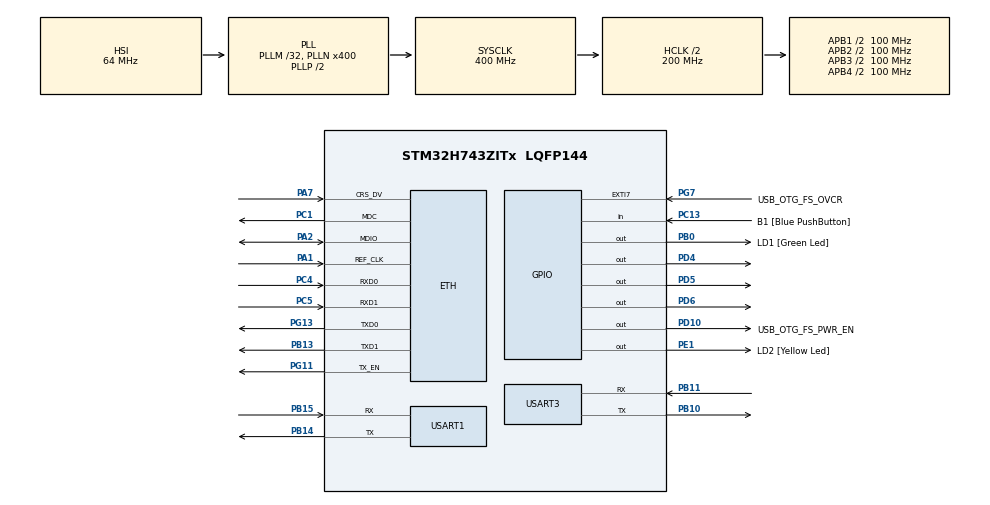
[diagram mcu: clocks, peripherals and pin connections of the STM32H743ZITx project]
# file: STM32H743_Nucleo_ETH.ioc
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CORTEX_M7.AccessPermission_S-Cortex_Memory_Protection_Unit_Region1_Settings_S=MPU_REGION_FULL_ACCESS
CORTEX_M7.AccessPermission_S-Cortex_Memory_Protection_Unit_Region2_Settings_S=MPU_REGION_FULL_ACCESS
CORTEX_M7.BaseAddress_S-Cortex_Memory_Protection_Unit_Region1_Settings_S=0x30020000
CORTEX_M7.BaseAddress_S-Cortex_Memory_Protection_Unit_Region2_Settings_S=0x30040000
CORTEX_M7.CPU_DCache=Enabled
CORTEX_M7.CPU_ICache=Enabled
CORTEX_M7.DisableExec_S-Cortex_Memory_Protection_Unit_Region1_Settings_S=MPU_INSTRUCTION_ACCESS_DISABLE
CORTEX_M7.DisableExec_S-Cortex_Memory_Protection_Unit_Region2_Settings_S=MPU_INSTRUCTION_ACCESS_DISABLE
CORTEX_M7.Enable_S-Cortex_Memory_Protection_Unit_Region1_Settings_S=MPU_REGION_ENABLE
CORTEX_M7.Enable_S-Cortex_Memory_Protection_Unit_Region2_Settings_S=MPU_REGION_ENABLE
CORTEX_M7.IsBufferable_S-Cortex_Memory_Protection_Unit_Region2_Settings_S=MPU_ACCESS_BUFFERABLE
CORTEX_M7.IsShareable_S-Cortex_Memory_Protection_Unit_Region2_Settings_S=MPU_ACCESS_SHAREABLE
CORTEX_M7.Size_S-Cortex_Memory_Protection_Unit_Region1_Settings_S=MPU_REGION_SIZE_128KB
CORTEX_M7.Size_S-Cortex_Memory_Protection_Unit_Region2_Settings_S=MPU_REGION_SIZE_512B
CORTEX_M7.TypeExtField_S-Cortex_Memory_Protection_Unit_Region1_Settings_S=MPU_TEX_LEVEL1
CORTEX_M7.default_mode_Activation=1
ETH.MediaInterface=HAL_ETH_RMII_MODE
ETH.RxBuffLen=1536
ETH.RxDescAddress=0x30040000
ETH.TxDescAddress=0x30040200
FREERTOS.HEAP_NUMBER=4
FREERTOS.Tasks01=defaultTask,24,256,StartDefaultTask,Default,NULL,Dynamic,NULL,NULL;MQTTTask,24,256,StartTaskMQTT,Default,NULL,Dynamic,NULL,NULL;ModbusTask,40,512,StartTaskModbus,Default,NULL,Dynamic,NULL,NULL
FREERTOS.configCHECK_FOR_STACK_OVERFLOW=1
FREERTOS.configMINIMAL_STACK_SIZE=256
FREERTOS.configTOTAL_HEAP_SIZE=30*1024
FREERTOS.configUSE_NEWLIB_REENTRANT=1
LWIP.BSP.number=1
LWIP.DEFAULT_THREAD_STACKSIZE=2048
LWIP.GATEWAY_ADDRESS=192.168.000.001
LWIP.IP_ADDRESS=192.168.000.110
LWIP.LWIP_DHCP=0
LWIP.LWIP_RAM_HEAP_POINTER=0x30020000
LWIP.MEM_SIZE=131048
LWIP.NETMASK_ADDRESS=255.255.255.000
LWIP.PBUF_POOL_BUFSIZE=592
LWIP.TCPIP_THREAD_STACKSIZE=2048
LWIP.TCP_MSS=1460
LWIP.TCP_SND_BUF=5840
LWIP.TCP_SND_QUEUELEN=16
LWIP.Version=v2.1.2_Cube
LWIP0.BSP.STBoard=false
LWIP0.BSP.api=BSP_COMPONENT_DRIVER
LWIP0.BSP.component=LAN8742
LWIP0.BSP.instance=LAN8742
LWIP0.BSP.name=Driver_PHY
LWIP0.BSP.semaphore=S_LAN8742
LWIP0.BSP.solution=LAN8742
Mcu.Family=STM32H7
Mcu.Name=STM32H743ZITx
Mcu.Package=LQFP144
NVIC.ETH_IRQn=true\:5\:0\:false\:false\:true\:true\:true\:true\:true
NVIC.PriorityGroup=NVIC_PRIORITYGROUP_4
NVIC.TIM15_IRQn=true\:5\:0\:false\:false\:true\:true\:true\:true\:true
NVIC.TIM6_DAC_IRQn=true\:15\:0\:false\:false\:true\:false\:false\:true\:true
NVIC.TimeBase=TIM6_DAC_IRQn
NVIC.TimeBaseIP=TIM6
NVIC.USART1_IRQn=true\:5\:0\:false\:false\:true\:true\:true\:true\:true
NVIC.USART3_IRQn=true\:5\:0\:false\:false\:true\:true\:true\:true\:true
PA1.GPIO_Speed=GPIO_SPEED_FREQ_VERY_HIGH
PA1.Mode=RMII
PA1.Signal=ETH_REF_CLK
PA2.GPIO_Speed=GPIO_SPEED_FREQ_VERY_HIGH
PA2.Mode=RMII
PA2.Signal=ETH_MDIO
PA7.GPIO_Speed=GPIO_SPEED_FREQ_VERY_HIGH
PA7.Mode=RMII
PA7.Signal=ETH_CRS_DV
PB0.GPIO_Label=LD1 [Green Led]
PB0.Signal=GPIO_Output
PB10.Mode=Asynchronous
PB10.Signal=USART3_TX
PB11.Mode=Asynchronous
PB11.Signal=USART3_RX
PB13.GPIO_Speed=GPIO_SPEED_FREQ_VERY_HIGH
PB13.Mode=RMII
PB13.Signal=ETH_TXD1
PB14.Mode=Asynchronous
PB14.Signal=USART1_TX
PB15.Mode=Asynchronous
PB15.Signal=USART1_RX
PC1.GPIO_Speed=GPIO_SPEED_FREQ_VERY_HIGH
PC1.Mode=RMII
PC1.Signal=ETH_MDC
PC13.GPIO_Label=B1 [Blue PushButton]
PC13.Signal=GPIO_Input
PC14-OSC32_IN\ (OSC32_IN).Signal=RCC_OSC32_IN
PC15-OSC32_OUT\ (OSC32_OUT).Signal=RCC_OSC32_OUT
PC4.GPIO_Speed=GPIO_SPEED_FREQ_VERY_HIGH
PC4.Mode=RMII
PC4.Signal=ETH_RXD0
PC5.GPIO_Speed=GPIO_SPEED_FREQ_VERY_HIGH
PC5.Mode=RMII
PC5.Signal=ETH_RXD1
PD10.GPIO_Label=USB_OTG_FS_PWR_EN
PD10.Signal=GPIO_Output
PD4.Signal=GPIO_Output
PD5.Signal=GPIO_Output
PD6.Signal=GPIO_Output
PE1.GPIO_Label=LD2 [Yellow Led]
PE1.Signal=GPIO_Output
PG11.GPIO_Speed=GPIO_SPEED_FREQ_VERY_HIGH
PG11.Mode=RMII
PG11.Signal=ETH_TX_EN
PG13.GPIO_Speed=GPIO_SPEED_FREQ_VERY_HIGH
PG13.Mode=RMII
PG13.Signal=ETH_TXD0
PG7.GPIO_Label=USB_OTG_FS_OVCR
PG7.Signal=GPXTI7
PH0-OSC_IN\ (PH0).Signal=RCC_OSC_IN
PH1-OSC_OUT\ (PH1).Signal=RCC_OSC_OUT
ProjectManager.HeapSize=0x200
ProjectManager.StackSize=0x400
ProjectManager.TargetToolchain=STM32CubeIDE
RCC.ADCFreq_Value=129000000
RCC.APB1Freq_Value=100000000
RCC.APB2Freq_Value=100000000
RCC.APB3Freq_Value=100000000
RCC.APB4Freq_Value=100000000
RCC.CortexFreq_Value=400000000
RCC.D1PPRE=RCC_APB3_DIV2
RCC.D2PPRE1=RCC_APB1_DIV2
RCC.D2PPRE2=RCC_APB2_DIV2
RCC.D3PPRE=RCC_APB4_DIV2
RCC.DIVN1=400
RCC.HCLKFreq_Value=200000000
RCC.HPRE=RCC_HCLK_DIV2
RCC.SYSCLKFreq_VALUE=400000000
RCC.SYSCLKSource=RCC_SYSCLKSOURCE_PLLCLK
RCC.USBFreq_Value=400000000
TIM15.Period=999
TIM15.Prescaler=64
USART1.VirtualMode-Asynchronous=VM_ASYNC
USART3.VirtualMode-Asynchronous=VM_ASYNC
VP_FREERTOS_VS_CMSIS_V2.Mode=CMSIS_V2
VP_LWIP_VS_Enabled.Mode=Enabled
VP_SYS_VS_tim6.Mode=TIM6
VP_TIM15_VS_ClockSourceINT.Mode=Internal
VP_TIM3_VS_ClockSourceINT.Mode=Internal
board=NUCLEO-H743ZI2

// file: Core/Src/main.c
/* USER CODE BEGIN Header */
/**
 ******************************************************************************
 * @file           : main.c
 * @brief          : Main program body
 ******************************************************************************
 * @attention
 *
 * Copyright (c) 2022 STMicroelectronics.
 * All rights reserved.
 *
 * This software is licensed under terms that can be found in the LICENSE file
 * in the root directory of this software component.
 * If no LICENSE file comes with this software, it is provided AS-IS.
 *
 ******************************************************************************
 */
/* USER CODE END Header */
#include "main.h"
#include "cmsis_os.h"
#include "lwip.h"

/* USER CODE BEGIN Includes */
/* ETH_CODE: add lwiperf, see comment in StartDefaultTask function */
#include "lwip/apps/lwiperf.h"
#include "lwip/apps/mqtt.h"
#include "lwip/opt.h"
#include "lwip/tcpip.h"
#include "lwip/api.h"
#include "lwip/netif.h"
#include "lwip/dhcp.h"
#include "lwip/sockets.h"
#include <string.h>

#include "tcpserver.h"
#include "tcpclient.h"

//#include "MQTTClient.h"
//#include "MQTTInterface.h"

/* USER CODE END Includes */

/* USER CODE BEGIN PD */

//#define BROKER_IP		"192.168.0.100"
//#define MQTT_PORT		1883
//#define MQTT_BUFSIZE	1024
/* USER CODE END PD */

TIM_HandleTypeDef htim3;
TIM_HandleTypeDef htim15;

UART_HandleTypeDef huart1;
UART_HandleTypeDef huart3;

/* Definitions for defaultTask */
osThreadId_t defaultTaskHandle;
const osThreadAttr_t defaultTask_attributes = { .name = "defaultTask",
		.stack_size = 256 * 4, .priority = (osPriority_t) osPriorityNormal, };
/* Definitions for MQTTTask */
osThreadId_t MQTTTaskHandle;
const osThreadAttr_t MQTTTask_attributes = { .name = "MQTTTask", .stack_size =
		256 * 4, .priority = (osPriority_t) osPriorityNormal, };
/* Definitions for ModbusTask */
osThreadId_t ModbusTaskHandle;
const osThreadAttr_t ModbusTask_attributes = { .name = "ModbusTask",
		.stack_size = 512 * 4, .priority = (osPriority_t) osPriorityHigh, };
/* USER CODE BEGIN PV */

uint8_t rx_request_complete = 0;
uint8_t rx_response_complete = 0;

uint8_t timer_request_start = 0; // boole
uint8_t timer_response_start = 0; //boole

uint8_t timer_request_complete = 0; // boole
uint8_t timer_response_complete = 0; //boole

uint8_t counter_request = 0;
uint8_t counter_response = 0;

uint16_t flag = 0;

//extern struct netif gnetif; //extern gnetif
//
//Network net; //mqtt network
//MQTTClient mqttClient; //mqtt client
//
//uint8_t sndBuffer[MQTT_BUFSIZE]; //mqtt send buffer
//uint8_t rcvBuffer[MQTT_BUFSIZE]; //mqtt receive buffer
//uint8_t msgBuffer[MQTT_BUFSIZE]; //mqtt message buffer

/* USER CODE END PV */

void SystemClock_Config(void);
static void MPU_Config(void);
static void MX_GPIO_Init(void);
static void MX_TIM3_Init(void);
static void MX_TIM15_Init(void);
static void MX_USART1_UART_Init(void);
static void MX_USART3_UART_Init(void);
void StartDefaultTask(void *argument);
void StartTaskMQTT(void *argument);
void StartTaskModbus(void *argument);

/* USER CODE BEGIN 0 */

char received_command[50];
char response_array_rx[50];

char request_array_rx[8] = { 0xAA, 0x03, 0x00, 0x01, 0x00, 0x01, 0xCC, 0x11 };

uint8_t response_byte;
uint8_t index_response_array_rx = 0x00;
uint8_t request_byte;
uint8_t index_request_array_rx = 0x00;

/*-----------------------------------------------------------------------------------------------------------

 //int MqttConnectBroker()
 //{
 //
 //  NewNetwork(&net);
 //  ConnectNetwork(&net, BROKER_IP, MQTT_PORT);
 //
 //  MQTTClientInit(&mqttClient, &net, 1000, sndBuffer, sizeof(sndBuffer), rcvBuffer, sizeof(rcvBuffer));
 //
 //  MQTTPacket_connectData data = MQTTPacket_connectData_initializer;
 //  data.willFlag = 0;
 //  data.MQTTVersion = 3;
 //  data.clientID.cstring = "sensor_temp";
 //  data.username.cstring = "sensor_temp";
 //  data.password.cstring = "";
 //  data.keepAliveInterval = 60;
 //  data.cleansession = 1;
 //
 //  MQTTConnect(&mqttClient, &data);
 //
 //  return MQTT_SUCCESS;
 //}

 ------------------------------------------------------------------------------------------------------------*/

/* USER CODE END 0 */

int main(void) {

	/* MPU Configuration--------------------------------------------------------*/
	MPU_Config();

	/* Enable I-Cache---------------------------------------------------------*/
	SCB_EnableICache();

	/* Enable D-Cache---------------------------------------------------------*/
	SCB_EnableDCache();

	/* MCU Configuration--------------------------------------------------------*/

	/* Reset of all peripherals, Initializes the Flash interface and the Systick. */
	HAL_Init();

	/* Configure the system clock */
	SystemClock_Config();

	/* Initialize all configured peripherals */
	MX_GPIO_Init();
	MX_TIM3_Init();
	MX_TIM15_Init();
	MX_USART1_UART_Init();
	MX_USART3_UART_Init();
	/* USER CODE BEGIN 2 */
	HAL_TIM_Base_Start_IT(&htim15);
	/* USER CODE END 2 */

	/* Init scheduler */
	osKernelInitialize();

	/* Create the thread(s) */
	/* creation of defaultTask */
	defaultTaskHandle = osThreadNew(StartDefaultTask, NULL, &defaultTask_attributes);

	/* creation of MQTTTask */
	MQTTTaskHandle = osThreadNew(StartTaskMQTT, NULL, &MQTTTask_attributes);

	/* creation of ModbusTask */
	ModbusTaskHandle = osThreadNew(StartTaskModbus, NULL, &ModbusTask_attributes);

	/* Start scheduler */
	osKernelStart();

	/* We should never get here as control is now taken by the scheduler */
	/* Infinite loop */
	while (1) {

	}
}

void SystemClock_Config(void) {
	RCC_OscInitTypeDef RCC_OscInitStruct = { 0 };
	RCC_ClkInitTypeDef RCC_ClkInitStruct = { 0 };

	/** Supply configuration update enable
	 */
	HAL_PWREx_ConfigSupply(PWR_LDO_SUPPLY);

	/** Configure the main internal regulator output voltage
	 */
	__HAL_PWR_VOLTAGESCALING_CONFIG(PWR_REGULATOR_VOLTAGE_SCALE1);

	while (!__HAL_PWR_GET_FLAG(PWR_FLAG_VOSRDY)) {
	}

	/** Initializes the RCC Oscillators according to the specified parameters
	 * in the RCC_OscInitTypeDef structure.
	 */
	RCC_OscInitStruct.OscillatorType = RCC_OSCILLATORTYPE_HSI;
	RCC_OscInitStruct.HSIState = RCC_HSI_DIV1;
	RCC_OscInitStruct.HSICalibrationValue = RCC_HSICALIBRATION_DEFAULT;
	RCC_OscInitStruct.PLL.PLLState = RCC_PLL_ON;
	RCC_OscInitStruct.PLL.PLLSource = RCC_PLLSOURCE_HSI;
	RCC_OscInitStruct.PLL.PLLM = 32;
	RCC_OscInitStruct.PLL.PLLN = 400;
	RCC_OscInitStruct.PLL.PLLP = 2;
	RCC_OscInitStruct.PLL.PLLQ = 2;
	RCC_OscInitStruct.PLL.PLLR = 2;
	RCC_OscInitStruct.PLL.PLLRGE = RCC_PLL1VCIRANGE_1;
	RCC_OscInitStruct.PLL.PLLVCOSEL = RCC_PLL1VCOWIDE;
	RCC_OscInitStruct.PLL.PLLFRACN = 0;
	if (HAL_RCC_OscConfig(&RCC_OscInitStruct) != HAL_OK) {
		Error_Handler();
	}

	/** Initializes the CPU, AHB and APB buses clocks
	 */
	RCC_ClkInitStruct.ClockType = RCC_CLOCKTYPE_HCLK | RCC_CLOCKTYPE_SYSCLK
			| RCC_CLOCKTYPE_PCLK1 | RCC_CLOCKTYPE_PCLK2 | RCC_CLOCKTYPE_D3PCLK1
			| RCC_CLOCKTYPE_D1PCLK1;
	RCC_ClkInitStruct.SYSCLKSource = RCC_SYSCLKSOURCE_PLLCLK;
	RCC_ClkInitStruct.SYSCLKDivider = RCC_SYSCLK_DIV1;
	RCC_ClkInitStruct.AHBCLKDivider = RCC_HCLK_DIV2;
	RCC_ClkInitStruct.APB3CLKDivider = RCC_APB3_DIV2;
	RCC_ClkInitStruct.APB1CLKDivider = RCC_APB1_DIV2;
	RCC_ClkInitStruct.APB2CLKDivider = RCC_APB2_DIV2;
	RCC_ClkInitStruct.APB4CLKDivider = RCC_APB4_DIV2;

	if (HAL_RCC_ClockConfig(&RCC_ClkInitStruct, FLASH_LATENCY_2) != HAL_OK) {
		Error_Handler();
	}
}

static void MX_TIM3_Init(void) {

	TIM_ClockConfigTypeDef sClockSourceConfig = { 0 };
	TIM_MasterConfigTypeDef sMasterConfig = { 0 };

	htim3.Instance = TIM3;
	htim3.Init.Prescaler = 0;
	htim3.Init.CounterMode = TIM_COUNTERMODE_UP;
	htim3.Init.Period = 65535;
	htim3.Init.ClockDivision = TIM_CLOCKDIVISION_DIV1;
	htim3.Init.AutoReloadPreload = TIM_AUTORELOAD_PRELOAD_DISABLE;
	if (HAL_TIM_Base_Init(&htim3) != HAL_OK) {
		Error_Handler();
	}
	sClockSourceConfig.ClockSource = TIM_CLOCKSOURCE_INTERNAL;
	if (HAL_TIM_ConfigClockSource(&htim3, &sClockSourceConfig) != HAL_OK) {
		Error_Handler();
	}
	sMasterConfig.MasterOutputTrigger = TIM_TRGO_RESET;
	sMasterConfig.MasterSlaveMode = TIM_MASTERSLAVEMODE_DISABLE;
	if (HAL_TIMEx_MasterConfigSynchronization(&htim3, &sMasterConfig)
			!= HAL_OK) {
		Error_Handler();
	}

}

static void MX_TIM15_Init(void) {

	TIM_ClockConfigTypeDef sClockSourceConfig = { 0 };
	TIM_MasterConfigTypeDef sMasterConfig = { 0 };

	htim15.Instance = TIM15;
	htim15.Init.Prescaler = 64;
	htim15.Init.CounterMode = TIM_COUNTERMODE_UP;
	htim15.Init.Period = 999;
	htim15.Init.ClockDivision = TIM_CLOCKDIVISION_DIV1;
	htim15.Init.RepetitionCounter = 0;
	htim15.Init.AutoReloadPreload = TIM_AUTORELOAD_PRELOAD_DISABLE;
	if (HAL_TIM_Base_Init(&htim15) != HAL_OK) {
		Error_Handler();
	}
	sClockSourceConfig.ClockSource = TIM_CLOCKSOURCE_INTERNAL;
	if (HAL_TIM_ConfigClockSource(&htim15, &sClockSourceConfig) != HAL_OK) {
		Error_Handler();
	}
	sMasterConfig.MasterOutputTrigger = TIM_TRGO_RESET;
	sMasterConfig.MasterSlaveMode = TIM_MASTERSLAVEMODE_DISABLE;
	if (HAL_TIMEx_MasterConfigSynchronization(&htim15, &sMasterConfig)
			!= HAL_OK) {
		Error_Handler();
	}

}

static void MX_USART1_UART_Init(void) {

	huart1.Instance = USART1;
	huart1.Init.BaudRate = 115200;
	huart1.Init.WordLength = UART_WORDLENGTH_8B;
	huart1.Init.StopBits = UART_STOPBITS_1;
	huart1.Init.Parity = UART_PARITY_NONE;
	huart1.Init.Mode = UART_MODE_TX_RX;
	huart1.Init.HwFlowCtl = UART_HWCONTROL_NONE;
	huart1.Init.OverSampling = UART_OVERSAMPLING_16;
	huart1.Init.OneBitSampling = UART_ONE_BIT_SAMPLE_DISABLE;
	huart1.Init.ClockPrescaler = UART_PRESCALER_DIV1;
	huart1.AdvancedInit.AdvFeatureInit = UART_ADVFEATURE_NO_INIT;
	if (HAL_UART_Init(&huart1) != HAL_OK) {
		Error_Handler();
	}
	if (HAL_UARTEx_SetTxFifoThreshold(&huart1, UART_TXFIFO_THRESHOLD_1_8)
			!= HAL_OK) {
		Error_Handler();
	}
	if (HAL_UARTEx_SetRxFifoThreshold(&huart1, UART_RXFIFO_THRESHOLD_1_8)
			!= HAL_OK) {
		Error_Handler();
	}
	if (HAL_UARTEx_DisableFifoMode(&huart1) != HAL_OK) {
		Error_Handler();
	}

}

static void MX_USART3_UART_Init(void) {

	huart3.Instance = USART3;
	huart3.Init.BaudRate = 115200;
	huart3.Init.WordLength = UART_WORDLENGTH_8B;
	huart3.Init.StopBits = UART_STOPBITS_1;
	huart3.Init.Parity = UART_PARITY_NONE;
	huart3.Init.Mode = UART_MODE_TX_RX;
	huart3.Init.HwFlowCtl = UART_HWCONTROL_NONE;
	huart3.Init.OverSampling = UART_OVERSAMPLING_16;
	huart3.Init.OneBitSampling = UART_ONE_BIT_SAMPLE_DISABLE;
	huart3.Init.ClockPrescaler = UART_PRESCALER_DIV1;
	huart3.AdvancedInit.AdvFeatureInit = UART_ADVFEATURE_NO_INIT;
	if (HAL_UART_Init(&huart3) != HAL_OK) {
		Error_Handler();
	}
	if (HAL_UARTEx_SetTxFifoThreshold(&huart3, UART_TXFIFO_THRESHOLD_1_8)
			!= HAL_OK) {
		Error_Handler();
	}
	if (HAL_UARTEx_SetRxFifoThreshold(&huart3, UART_RXFIFO_THRESHOLD_1_8)
			!= HAL_OK) {
		Error_Handler();
	}
	if (HAL_UARTEx_DisableFifoMode(&huart3) != HAL_OK) {
		Error_Handler();
	}

}

static void MX_GPIO_Init(void) {
	GPIO_InitTypeDef GPIO_InitStruct = { 0 };

	/* GPIO Ports Clock Enable */
	__HAL_RCC_GPIOC_CLK_ENABLE();
	__HAL_RCC_GPIOH_CLK_ENABLE();
	__HAL_RCC_GPIOA_CLK_ENABLE();
	__HAL_RCC_GPIOB_CLK_ENABLE();
	__HAL_RCC_GPIOD_CLK_ENABLE();
	__HAL_RCC_GPIOG_CLK_ENABLE();
	__HAL_RCC_GPIOE_CLK_ENABLE();

	/*Configure GPIO pin Output Level */
	HAL_GPIO_WritePin(LD1_GPIO_Port, LD1_Pin, GPIO_PIN_RESET);

	/*Configure GPIO pin Output Level */
	HAL_GPIO_WritePin(GPIOD,
	USB_OTG_FS_PWR_EN_Pin | GPIO_PIN_4 | GPIO_PIN_5 | GPIO_PIN_6,
			GPIO_PIN_RESET);

	/*Configure GPIO pin Output Level */
	HAL_GPIO_WritePin(LD2_GPIO_Port, LD2_Pin, GPIO_PIN_RESET);

	/*Configure GPIO pin : B1_Pin */
	GPIO_InitStruct.Pin = B1_Pin;
	GPIO_InitStruct.Mode = GPIO_MODE_INPUT;
	GPIO_InitStruct.Pull = GPIO_NOPULL;
	HAL_GPIO_Init(B1_GPIO_Port, &GPIO_InitStruct);

	/*Configure GPIO pin : LD1_Pin */
	GPIO_InitStruct.Pin = LD1_Pin;
	GPIO_InitStruct.Mode = GPIO_MODE_OUTPUT_PP;
	GPIO_InitStruct.Pull = GPIO_NOPULL;
	GPIO_InitStruct.Speed = GPIO_SPEED_FREQ_LOW;
	HAL_GPIO_Init(LD1_GPIO_Port, &GPIO_InitStruct);

	/*Configure GPIO pins : USB_OTG_FS_PWR_EN_Pin PD4 PD5 PD6 */
	GPIO_InitStruct.Pin = USB_OTG_FS_PWR_EN_Pin | GPIO_PIN_4 | GPIO_PIN_5
			| GPIO_PIN_6;
	GPIO_InitStruct.Mode = GPIO_MODE_OUTPUT_PP;
	GPIO_InitStruct.Pull = GPIO_NOPULL;
	GPIO_InitStruct.Speed = GPIO_SPEED_FREQ_LOW;
	HAL_GPIO_Init(GPIOD, &GPIO_InitStruct);

	/*Configure GPIO pin : USB_OTG_FS_OVCR_Pin */
	GPIO_InitStruct.Pin = USB_OTG_FS_OVCR_Pin;
	GPIO_InitStruct.Mode = GPIO_MODE_IT_RISING;
	GPIO_InitStruct.Pull = GPIO_NOPULL;
	HAL_GPIO_Init(USB_OTG_FS_OVCR_GPIO_Port, &GPIO_InitStruct);

	/*Configure GPIO pin : LD2_Pin */
	GPIO_InitStruct.Pin = LD2_Pin;
	GPIO_InitStruct.Mode = GPIO_MODE_OUTPUT_PP;
	GPIO_InitStruct.Pull = GPIO_NOPULL;
	GPIO_InitStruct.Speed = GPIO_SPEED_FREQ_LOW;
	HAL_GPIO_Init(LD2_GPIO_Port, &GPIO_InitStruct);

}

/* USER CODE BEGIN 4 */

void HAL_UART_RxCpltCallback(UART_HandleTypeDef *huart) {
	/* Prevent unused argument(s) compilation warning */
	//UNUSED(huart);
	/* NOTE : This function should not be modified, when the callback is needed,
	 the HAL_UART_RxCpltCallback can be implemented in the user file.
	 */

	if (huart->Instance == USART1) {

		//rx_response_complete = 1;
		response_array_rx[index_response_array_rx] = response_byte;

		index_response_array_rx++;

		timer_response_start = 1;

		HAL_UART_Receive_IT(&huart1, &response_byte, 1);
	}

}

/* USER CODE END 4 */

void StartDefaultTask(void *argument) {
	/* init code for LWIP */
	MX_LWIP_Init();
	/* USER CODE BEGIN 5 */

	LOCK_TCPIP_CORE();
	lwiperf_start_tcp_server_default(NULL, NULL);

	ip4_addr_t remote_addr;
	IP4_ADDR(&remote_addr, 192, 168, 0, 1);
	lwiperf_start_tcp_client_default(&remote_addr, NULL, NULL);
	UNLOCK_TCPIP_CORE();

	/* Infinite loop */
	for (;;) {
		osDelay(10);
	}
	/* USER CODE END 5 */
}

void StartTaskMQTT(void *argument) {
	/* USER CODE BEGIN StartTaskMQTT */

	tcpserver_init();
	/*-----------------------------------------------------------------------------------------------------------
	 //	MqttConnectBroker();
	 //
	 //	osDelay(1000);
	 //	char* str = "test";
	 //	MQTTMessage message;
	 //
	 //	message.payload = (void*)str;
	 //	message.payloadlen = strlen(str);
	 //	message.qos = 0;
	 //	message.retained = 0;
	 //	MQTTPublish(&mqttClient, "sensors/temperature", &message);
	 -----------------------------------------------------------------------------------------------------------*/
	for (;;) {
		osDelay(1);
	}

	/* USER CODE END StartTaskMQTT */
}

/* USER CODE BEGIN Header_StartTaskModbus */
/**
 * @brief Function implementing the ModbusTask tahread.
 * @param argument: Not used
 * @retval None
 */
/* USER CODE END Header_StartTaskModbus */
void StartTaskModbus(void *argument) {
	/* USER CODE BEGIN StartTaskModbus */
	HAL_TIM_Base_Start_IT(&htim15);
	/* Infinite loop */
	for (;;) {

		osDelay(1);

		HAL_UART_Transmit(&huart1, request_array_rx, 8, 100);

		HAL_UART_Receive_IT(&huart1, &response_byte, 1);

		if (rx_response_complete) {

			rx_response_complete = 0;
			index_response_array_rx = 0;
			timer_response_start = 0;
		}

		/* USER CODE END StartTaskModbus */
	}
}
/* MPU Configuration */

void MPU_Config(void) {
	MPU_Region_InitTypeDef MPU_InitStruct = { 0 };

	/* Disables the MPU */
	HAL_MPU_Disable();

	/** Initializes and configures the Region and the memory to be protected
	 */
	MPU_InitStruct.Enable = MPU_REGION_ENABLE;
	MPU_InitStruct.Number = MPU_REGION_NUMBER0;
	MPU_InitStruct.BaseAddress = 0x0;
	MPU_InitStruct.Size = MPU_REGION_SIZE_4GB;
	MPU_InitStruct.SubRegionDisable = 0x87;
	MPU_InitStruct.TypeExtField = MPU_TEX_LEVEL0;
	MPU_InitStruct.AccessPermission = MPU_REGION_NO_ACCESS;
	MPU_InitStruct.DisableExec = MPU_INSTRUCTION_ACCESS_DISABLE;
	MPU_InitStruct.IsShareable = MPU_ACCESS_SHAREABLE;
	MPU_InitStruct.IsCacheable = MPU_ACCESS_NOT_CACHEABLE;
	MPU_InitStruct.IsBufferable = MPU_ACCESS_NOT_BUFFERABLE;

	HAL_MPU_ConfigRegion(&MPU_InitStruct);

	/** Initializes and configures the Region and the memory to be protected
	 */
	MPU_InitStruct.Number = MPU_REGION_NUMBER1;
	MPU_InitStruct.BaseAddress = 0x30020000;
	MPU_InitStruct.Size = MPU_REGION_SIZE_128KB;
	MPU_InitStruct.SubRegionDisable = 0x0;
	MPU_InitStruct.TypeExtField = MPU_TEX_LEVEL1;
	MPU_InitStruct.AccessPermission = MPU_REGION_FULL_ACCESS;
	MPU_InitStruct.IsShareable = MPU_ACCESS_NOT_SHAREABLE;

	HAL_MPU_ConfigRegion(&MPU_InitStruct);

	/** Initializes and configures the Region and the memory to be protected
	 */
	MPU_InitStruct.Number = MPU_REGION_NUMBER2;
	MPU_InitStruct.BaseAddress = 0x30040000;
	MPU_InitStruct.Size = MPU_REGION_SIZE_512B;
	MPU_InitStruct.TypeExtField = MPU_TEX_LEVEL0;
	MPU_InitStruct.IsShareable = MPU_ACCESS_SHAREABLE;
	MPU_InitStruct.IsBufferable = MPU_ACCESS_BUFFERABLE;

	HAL_MPU_ConfigRegion(&MPU_InitStruct);
	/* Enables the MPU */
	HAL_MPU_Enable(MPU_PRIVILEGED_DEFAULT);

}

void HAL_TIM_PeriodElapsedCallback(TIM_HandleTypeDef *htim) {
	/* USER CODE BEGIN Callback 0 */

	if (htim == &htim15) {

		if (timer_response_start) {
			counter_response++;
		}

		if (counter_response == 30) {

			counter_response = 0;
			rx_response_complete = 1;
		}

		if (timer_request_start) {
			counter_request++;
		}

		if (counter_request == 30) {

			counter_request = 0;
			rx_request_complete = 1;
		}

	}
	/* USER CODE END Callback 0 */
	if (htim->Instance == TIM6) {
		HAL_IncTick();
	}
}

void Error_Handler(void) {
	__disable_irq();
	while (1) {
	}
}
